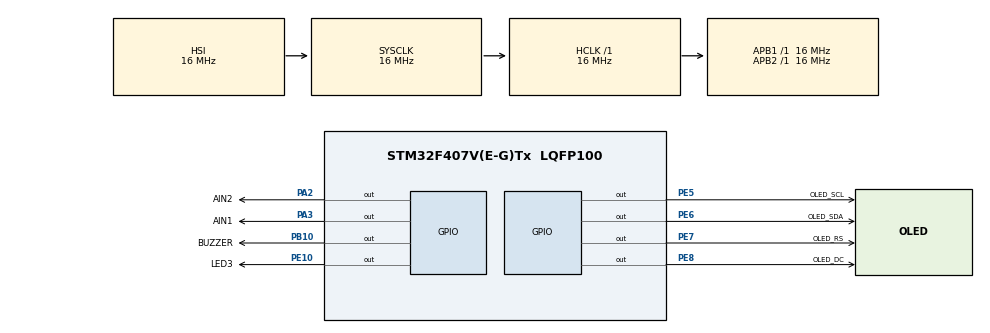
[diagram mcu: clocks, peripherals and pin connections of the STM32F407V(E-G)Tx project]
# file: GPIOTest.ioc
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Mcu.Family=STM32F4
Mcu.Name=STM32F407V(E-G)Tx
Mcu.Package=LQFP100
NVIC.PriorityGroup=NVIC_PRIORITYGROUP_4
PA13.GPIO_Label=SWDIO
PA13.Signal=SYS_JTMS-SWDIO
PA14.GPIO_Label=SWCLK
PA14.Signal=SYS_JTCK-SWCLK
PA2.GPIO_Label=AIN2
PA2.GPIO_Speed=GPIO_SPEED_FREQ_HIGH
PA2.Signal=GPIO_Output
PA3.GPIO_Label=AIN1
PA3.GPIO_Speed=GPIO_SPEED_FREQ_HIGH
PA3.Signal=GPIO_Output
PB10.GPIO_Label=BUZZER
PB10.Signal=GPIO_Output
PC6.Signal=S_TIM8_CH1
PE10.GPIO_Label=LED3
PE10.Signal=GPIO_Output
PE5.GPIO_Label=OLED_SCL
PE5.Signal=GPIO_Output
PE6.GPIO_Label=OLED_SDA
PE6.Signal=GPIO_Output
PE7.GPIO_Label=OLED_RS
PE7.Signal=GPIO_Output
PE8.GPIO_Label=OLED_DC
PE8.Signal=GPIO_Output
ProjectManager.HeapSize=0x200
ProjectManager.StackSize=0x400
ProjectManager.TargetToolchain=STM32CubeIDE
RCC.AHBFreq_Value=16000000
RCC.APB1Freq_Value=16000000
RCC.APB2Freq_Value=16000000
RCC.CortexFreq_Value=16000000
RCC.HSE_VALUE=25000000
RCC.HSI_VALUE=16000000
RCC.LSE_VALUE=32768
RCC.SYSCLKFreq_VALUE=16000000
RCC.VCOOutputFreq_Value=192000000
SH.S_TIM8_CH1.0=TIM8_CH1
TIM8.Channel-PWM\ Generation1\ No\ Output=TIM_CHANNEL_1
TIM8.Period=7200
VP_TIM8_VS_ClockSourceINT.Mode=Internal
VP_TIM8_VS_no_output1.Mode=PWM Generation1 No Output
board=custom

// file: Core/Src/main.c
/* USER CODE BEGIN Header */
/**
  ******************************************************************************
  * @file           : main.c
  * @brief          : Main program body
  ******************************************************************************
  * @attention
  *
  * Copyright (c) 2025 STMicroelectronics.
  * All rights reserved.
  *
  * This software is licensed under terms that can be found in the LICENSE file
  * in the root directory of this software component.
  * If no LICENSE file comes with this software, it is provided AS-IS.
  *
  ******************************************************************************
  */
/* USER CODE END Header */
#include "main.h"

/* USER CODE BEGIN Includes */
#include "oled.h"
/* USER CODE END Includes */

TIM_HandleTypeDef htim8;

void SystemClock_Config(void);
static void MX_GPIO_Init(void);
static void MX_TIM8_Init(void);

int main(void)
{

  /* MCU Configuration--------------------------------------------------------*/

  /* Reset of all peripherals, Initializes the Flash interface and the Systick. */
  HAL_Init();

  /* USER CODE BEGIN Init */
  uint8_t hello_mdp [30] = "Goodbye MDP Grp33";
  uint8_t str1 [30] = "STM32 Team";

  uint16_t pwmVal = 200;
  /* USER CODE END Init */

  /* Configure the system clock */
  SystemClock_Config();

  /* Initialize all configured peripherals */
  MX_GPIO_Init();
  MX_TIM8_Init();
  /* USER CODE BEGIN 2 */
  OLED_Init();
  /* USER CODE END 2 */

  /* Infinite loop */
  /* USER CODE BEGIN WHILE */
  while (1)
  {
	  //HAL_StatusTypeDef HAL_TIM_PWM_Start(TIM_HandleTypeDef *htim, uint32_t Channel)
	  HAL_TIM_PWM_Start(&htim8, TIM_CHANNEL_1);

	  while(pwmVal < 4000)
	  {
		  HAL_GPIO_WritePin(GPIOA,AIN2_Pin, GPIO_PIN_SET);
		  HAL_GPIO_WritePin(GPIOA,AIN1_Pin, GPIO_PIN_RESET);
		  pwmVal += 100;
		  __HAL_TIM_SetCompare(&htim8, TIM_CHANNEL_1, pwmVal);
		  HAL_GPIO_TogglePin(BUZZER_GPIO_Port, BUZZER_Pin); // turn on/off buzzer

//		  HAL_DELAY(5000);
	  }

//	  while(pwmVal > 0)
//	  {
//		  HAL_GPIO_WritePin(GPIOA,AIN2_Pin, GPIO_PIN_SET);
//		  HAL_GPIO_WritePin(GPIOA,AIN1_Pin, GPIO_PIN_RESET);
//		  pwmVal -= 100;
//		  __HAL_TIM_SetCompare(&htim8, TIM_CHANNEL_1, pwmVal);
////		  HAL_DELAY(5000);
//	  }

	  OLED_ShowString(5, 10, hello_mdp); // display message 1
	  OLED_Refresh_Gram();
	  HAL_Delay(3000); // delay for 3 seconds
	  OLED_Clear(); // clear screen
	  HAL_GPIO_TogglePin(BUZZER_GPIO_Port, BUZZER_Pin); // turn on/off buzzer
	  HAL_Delay(3000); // delay for 3 seconds
	  HAL_GPIO_TogglePin(LED3_GPIO_Port, LED3_Pin); //turn on/off LED3
	  OLED_ShowString(10, 10, str1); // display message 2
	  OLED_Refresh_Gram();
	  HAL_Delay(3000); // delay for 3 seconds
	  OLED_Clear();
    /* USER CODE END WHILE */

  }
}

void SystemClock_Config(void)
{
  RCC_OscInitTypeDef RCC_OscInitStruct = {0};
  RCC_ClkInitTypeDef RCC_ClkInitStruct = {0};

  /** Configure the main internal regulator output voltage
  */
  __HAL_RCC_PWR_CLK_ENABLE();
  __HAL_PWR_VOLTAGESCALING_CONFIG(PWR_REGULATOR_VOLTAGE_SCALE1);

  /** Initializes the RCC Oscillators according to the specified parameters
  * in the RCC_OscInitTypeDef structure.
  */
  RCC_OscInitStruct.OscillatorType = RCC_OSCILLATORTYPE_HSI;
  RCC_OscInitStruct.HSIState = RCC_HSI_ON;
  RCC_OscInitStruct.HSICalibrationValue = RCC_HSICALIBRATION_DEFAULT;
  RCC_OscInitStruct.PLL.PLLState = RCC_PLL_NONE;
  if (HAL_RCC_OscConfig(&RCC_OscInitStruct) != HAL_OK)
  {
    Error_Handler();
  }

  /** Initializes the CPU, AHB and APB buses clocks
  */
  RCC_ClkInitStruct.ClockType = RCC_CLOCKTYPE_HCLK|RCC_CLOCKTYPE_SYSCLK
                              |RCC_CLOCKTYPE_PCLK1|RCC_CLOCKTYPE_PCLK2;
  RCC_ClkInitStruct.SYSCLKSource = RCC_SYSCLKSOURCE_HSI;
  RCC_ClkInitStruct.AHBCLKDivider = RCC_SYSCLK_DIV1;
  RCC_ClkInitStruct.APB1CLKDivider = RCC_HCLK_DIV1;
  RCC_ClkInitStruct.APB2CLKDivider = RCC_HCLK_DIV1;

  if (HAL_RCC_ClockConfig(&RCC_ClkInitStruct, FLASH_LATENCY_0) != HAL_OK)
  {
    Error_Handler();
  }
}

static void MX_TIM8_Init(void)
{

  TIM_ClockConfigTypeDef sClockSourceConfig = {0};
  TIM_MasterConfigTypeDef sMasterConfig = {0};
  TIM_OC_InitTypeDef sConfigOC = {0};
  TIM_BreakDeadTimeConfigTypeDef sBreakDeadTimeConfig = {0};

  htim8.Instance = TIM8;
  htim8.Init.Prescaler = 0;
  htim8.Init.CounterMode = TIM_COUNTERMODE_UP;
  htim8.Init.Period = 7200;
  htim8.Init.ClockDivision = TIM_CLOCKDIVISION_DIV1;
  htim8.Init.RepetitionCounter = 0;
  htim8.Init.AutoReloadPreload = TIM_AUTORELOAD_PRELOAD_DISABLE;
  if (HAL_TIM_Base_Init(&htim8) != HAL_OK)
  {
    Error_Handler();
  }
  sClockSourceConfig.ClockSource = TIM_CLOCKSOURCE_INTERNAL;
  if (HAL_TIM_ConfigClockSource(&htim8, &sClockSourceConfig) != HAL_OK)
  {
    Error_Handler();
  }
  if (HAL_TIM_PWM_Init(&htim8) != HAL_OK)
  {
    Error_Handler();
  }
  sMasterConfig.MasterOutputTrigger = TIM_TRGO_RESET;
  sMasterConfig.MasterSlaveMode = TIM_MASTERSLAVEMODE_DISABLE;
  if (HAL_TIMEx_MasterConfigSynchronization(&htim8, &sMasterConfig) != HAL_OK)
  {
    Error_Handler();
  }
  sConfigOC.OCMode = TIM_OCMODE_PWM1;
  sConfigOC.Pulse = 0;
  sConfigOC.OCPolarity = TIM_OCPOLARITY_HIGH;
  sConfigOC.OCNPolarity = TIM_OCNPOLARITY_HIGH;
  sConfigOC.OCFastMode = TIM_OCFAST_DISABLE;
  sConfigOC.OCIdleState = TIM_OCIDLESTATE_RESET;
  sConfigOC.OCNIdleState = TIM_OCNIDLESTATE_RESET;
  if (HAL_TIM_PWM_ConfigChannel(&htim8, &sConfigOC, TIM_CHANNEL_1) != HAL_OK)
  {
    Error_Handler();
  }
  sBreakDeadTimeConfig.OffStateRunMode = TIM_OSSR_DISABLE;
  sBreakDeadTimeConfig.OffStateIDLEMode = TIM_OSSI_DISABLE;
  sBreakDeadTimeConfig.LockLevel = TIM_LOCKLEVEL_OFF;
  sBreakDeadTimeConfig.DeadTime = 0;
  sBreakDeadTimeConfig.BreakState = TIM_BREAK_DISABLE;
  sBreakDeadTimeConfig.BreakPolarity = TIM_BREAKPOLARITY_HIGH;
  sBreakDeadTimeConfig.AutomaticOutput = TIM_AUTOMATICOUTPUT_DISABLE;
  if (HAL_TIMEx_ConfigBreakDeadTime(&htim8, &sBreakDeadTimeConfig) != HAL_OK)
  {
    Error_Handler();
  }

}

static void MX_GPIO_Init(void)
{
  GPIO_InitTypeDef GPIO_InitStruct = {0};

  /* GPIO Ports Clock Enable */
  __HAL_RCC_GPIOE_CLK_ENABLE();
  __HAL_RCC_GPIOA_CLK_ENABLE();
  __HAL_RCC_GPIOB_CLK_ENABLE();
  __HAL_RCC_GPIOC_CLK_ENABLE();

  /*Configure GPIO pin Output Level */
  HAL_GPIO_WritePin(GPIOE, OLED_SCL_Pin|OLED_SDA_Pin|OLED_RS_Pin|OLED_DC_Pin
                          |LED3_Pin, GPIO_PIN_RESET);

  /*Configure GPIO pin Output Level */
  HAL_GPIO_WritePin(GPIOA, AIN2_Pin|AIN1_Pin, GPIO_PIN_RESET);

  /*Configure GPIO pin Output Level */
  HAL_GPIO_WritePin(BUZZER_GPIO_Port, BUZZER_Pin, GPIO_PIN_RESET);

  /*Configure GPIO pins : OLED_SCL_Pin OLED_SDA_Pin OLED_RS_Pin OLED_DC_Pin
                           LED3_Pin */
  GPIO_InitStruct.Pin = OLED_SCL_Pin|OLED_SDA_Pin|OLED_RS_Pin|OLED_DC_Pin
                          |LED3_Pin;
  GPIO_InitStruct.Mode = GPIO_MODE_OUTPUT_PP;
  GPIO_InitStruct.Pull = GPIO_NOPULL;
  GPIO_InitStruct.Speed = GPIO_SPEED_FREQ_LOW;
  HAL_GPIO_Init(GPIOE, &GPIO_InitStruct);

  /*Configure GPIO pins : AIN2_Pin AIN1_Pin */
  GPIO_InitStruct.Pin = AIN2_Pin|AIN1_Pin;
  GPIO_InitStruct.Mode = GPIO_MODE_OUTPUT_PP;
  GPIO_InitStruct.Pull = GPIO_NOPULL;
  GPIO_InitStruct.Speed = GPIO_SPEED_FREQ_HIGH;
  HAL_GPIO_Init(GPIOA, &GPIO_InitStruct);

  /*Configure GPIO pin : BUZZER_Pin */
  GPIO_InitStruct.Pin = BUZZER_Pin;
  GPIO_InitStruct.Mode = GPIO_MODE_OUTPUT_PP;
  GPIO_InitStruct.Pull = GPIO_NOPULL;
  GPIO_InitStruct.Speed = GPIO_SPEED_FREQ_LOW;
  HAL_GPIO_Init(BUZZER_GPIO_Port, &GPIO_InitStruct);

}

void Error_Handler(void)
{
  __disable_irq();
  while (1)
  {
  }
}
